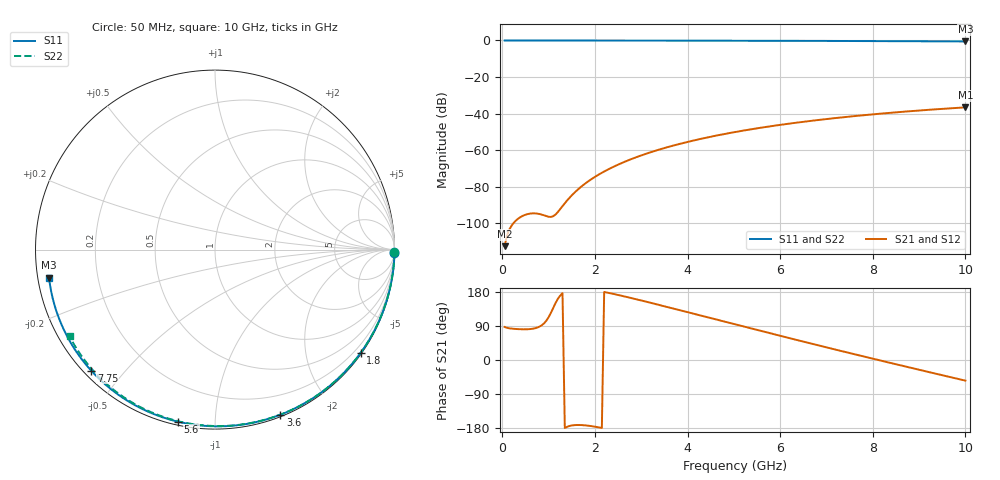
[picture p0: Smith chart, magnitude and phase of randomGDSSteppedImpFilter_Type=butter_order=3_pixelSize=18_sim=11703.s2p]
! freq	dB(S11)	phase(S11)	dB(S12)	phase(S12)
!  dB(S21)	phase(S21)	dB(S22)	phase(S22)
!S-par simulation data
#  GHz  S  DB  R 50
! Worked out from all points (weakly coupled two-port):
!   200 points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, 50 MHz to 10 GHz, reference 50 ohm
!   highest |S21| = -36.65 dB at 10 GHz (marker M1); lowest = -112.7 dB at 50 MHz (marker M2)
!   lowest |S11| = -0.6 dB at 10 GHz (marker M3), VSWR 31.22, Z = 1.61 - j4.17 ohm
!   |S11| at or under -10 dB: nowhere
!   |S22| runs from -0.5 to 0.0 dB; largest |S21 - S12| = 0
!   S11 on the Smith chart (normalised r, x): 50 MHz: open; 1.8 GHz: 0.03, -3.15; 3.6 GHz: 0.02, -1.47; 5.6 GHz: 0.02, -0.81; 7.75 GHz: 0.02, -0.41; 10 GHz: 0.03, -0.08
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0.05  -0.00 -1.0  -112.65 87.2  -112.65 87.2  -0.00 -0.9
0.45  -0.01 -9.0  -95.96 81.0  -95.96 81.0  -0.01 -7.7
0.85  -0.02 -16.9  -95.36 91.5  -95.36 91.5  -0.02 -14.6
1.25  -0.03 -24.7  -92.39 170.0  -92.39 170.0  -0.03 -21.3
1.7  -0.04 -33.3  -80.15 -171.7  -80.15 -171.7  -0.04 -28.8
1.75  -0.04 -34.3  -79.13 -172.0  -79.13 -172.0  -0.04 -29.7
1.8  -0.04 -35.3  -78.17 -172.6  -78.17 -172.6  -0.04 -30.5
2.1  -0.05 -41.0  -73.18 -178.1  -73.18 -178.1  -0.05 -35.4
2.3  -0.06 -44.7  -70.43 177.0  -70.43 177.0  -0.05 -38.7
2.5  -0.06 -48.5  -68.01 171.7  -68.01 171.7  -0.05 -42.0
2.9  -0.07 -55.8  -63.87 160.1  -63.87 160.1  -0.06 -48.4
3.4  -0.09 -64.8  -59.66 144.9  -59.66 144.9  -0.07 -56.3
3.6  -0.09 -68.4  -58.20 138.7  -58.20 138.7  -0.08 -59.5
4.3  -0.11 -80.6  -53.81 116.8  -53.81 116.8  -0.10 -70.2
5.05  -0.14 -93.2  -50.04 93.3  -50.04 93.3  -0.13 -81.4
5.6  -0.17 -102.1  -47.72 76.2  -47.72 76.2  -0.15 -89.4
6.15  -0.20 -110.9  -45.70 59.2  -45.70 59.2  -0.17 -97.2
6.7  -0.23 -119.5  -43.92 42.4  -43.92 42.4  -0.20 -104.8
7.75  -0.31 -135.7  -41.06 10.9  -41.06 10.9  -0.28 -119.1
8.35  -0.37 -144.8  -39.68 -6.8  -39.68 -6.8  -0.33 -127.1
9.2  -0.46 -157.9  -37.99 -31.5  -37.99 -31.5  -0.41 -138.5
10  -0.56 -170.5  -36.65 -54.5  -36.65 -54.5  -0.51 -149.2
